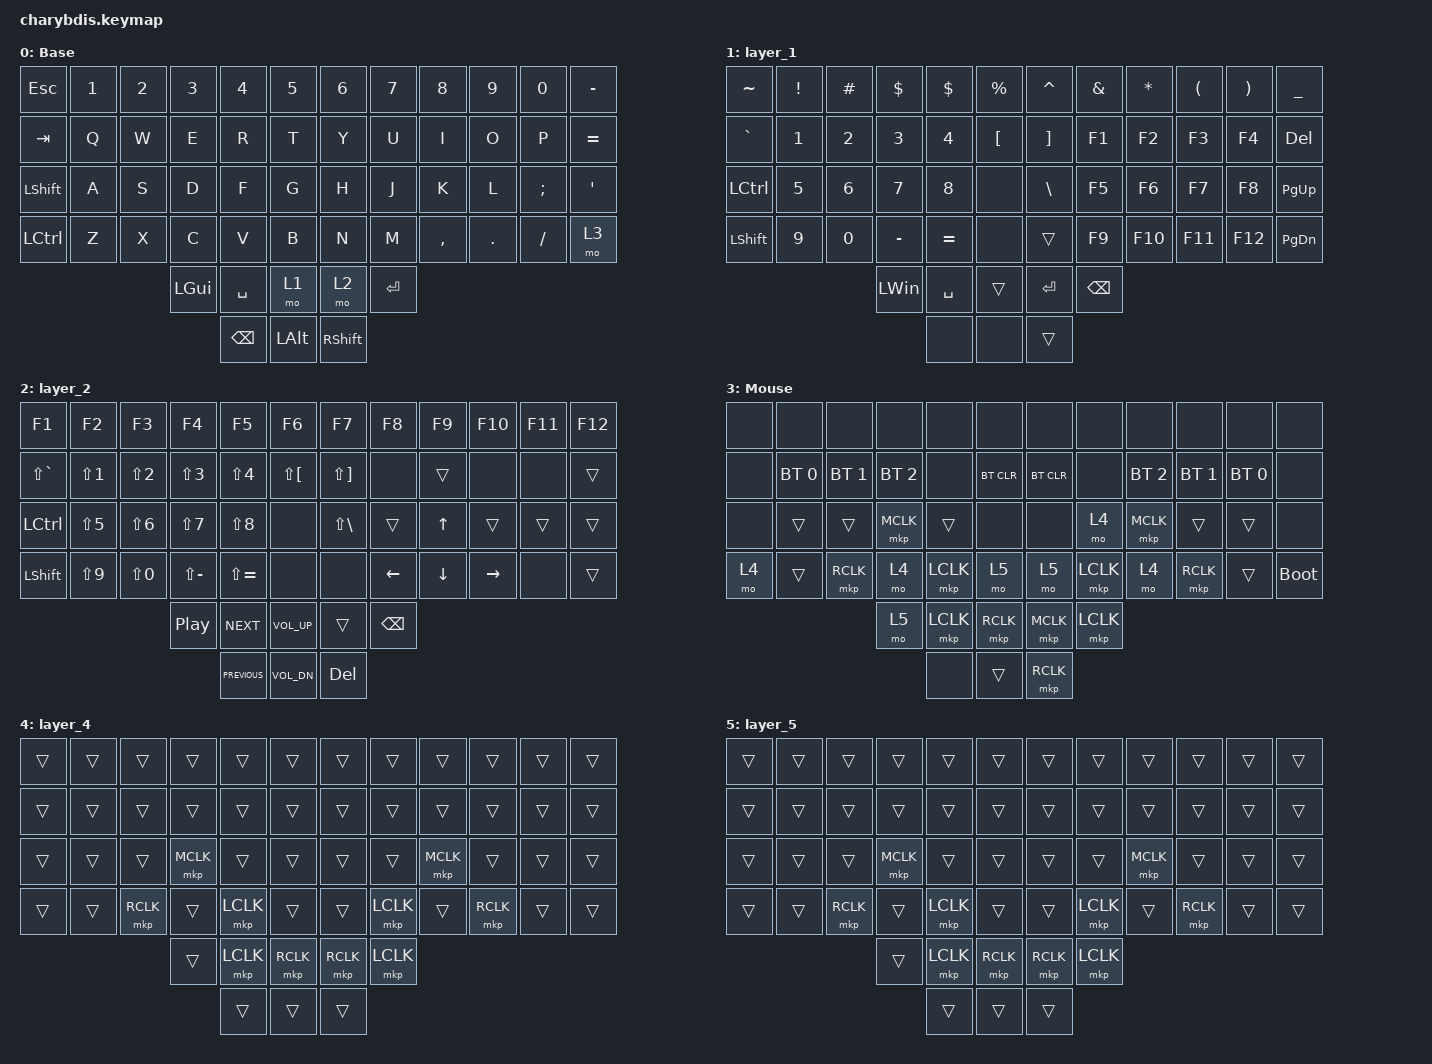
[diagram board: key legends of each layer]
#include <dt-bindings/zmk/mouse.h>
#include <behaviors.dtsi>
#include <dt-bindings/zmk/bt.h>
#include <dt-bindings/zmk/keys.h> 

&lt {
    tapping-term-ms = <200>;
    flavor = "balanced";
    quick-tap-ms = <150>;
};

/ {
    combos {
        compatible = "zmk,combos";

        escc {
            bindings = <&kp ESC>;
            key-positions = <17 18>;
            layers = <0>;
        };
    };

    keymap {
        compatible = "zmk,keymap";

        Base {
            bindings = <
&kp ESC         &kp N1  &kp N2  &kp N3        &kp N4         &kp N5          &kp N6           &kp N7     &kp N8     &kp N9   &kp N0     &kp MINUS
&kp TAB         &kp Q   &kp W   &kp E         &kp R          &kp T           &kp Y            &kp U      &kp I      &kp O    &kp P      &kp EQUAL
&kp LEFT_SHIFT  &kp A   &kp S   &kp D         &kp F          &kp G           &kp H            &kp J      &kp K      &kp L    &kp SEMI   &kp APOS
&kp LCTRL       &kp Z   &kp X   &kp C         &kp V          &kp B           &kp N            &kp M      &kp COMMA  &kp DOT  &kp SLASH  &mo 3
                                &kp LEFT_GUI  &kp SPACE      &mo 1           &mo 2            &kp ENTER
                                              &kp BACKSPACE  &kp LEFT_ALT    &kp RIGHT_SHIFT
            >;

            trackball-bindings = <&tmv_coarse>;
        };

        layer_1 {
            bindings = <
&kp TILDE         &kp EXCLAMATION  &kp HASH      &kp DOLLAR    &kp DOLLAR    &kp PERCENT    &kp CARET  &kp AMPERSAND  &kp ASTERISK  &kp LEFT_PARENTHESIS  &kp RIGHT_PARENTHESIS  &kp UNDERSCORE
&kp GRAVE         &kp NUMBER_1     &kp NUMBER_2  &kp NUMBER_3  &kp NUMBER_4  &kp LBKT       &kp RBKT   &kp F1         &kp F2        &kp F3                &kp F4                 &kp DEL
&kp LEFT_CONTROL  &kp NUMBER_5     &kp NUMBER_6  &kp NUMBER_7  &kp NUMBER_8  &none          &kp BSLH   &kp F5         &kp F6        &kp F7                &kp F8                 &kp PAGE_UP
&kp LSHFT         &kp NUMBER_9     &kp NUMBER_0  &kp MINUS     &kp EQUAL     &none          &trans     &kp F9         &kp F10       &kp F11               &kp F12                &kp PAGE_DOWN
                                                 &kp LEFT_WIN  &kp SPACE     &trans         &kp ENTER  &kp BACKSPACE
                                                               &none         &none          &trans
            >;
        };

        layer_2 {
            bindings = <
&kp F1            &kp F2      &kp F3      &kp F4            &kp F5          &kp F6             &kp F7        &kp F8         &kp F9    &kp F10    &kp F11  &kp F12
&kp LS(GRAVE)     &kp LS(N1)  &kp LS(N2)  &kp LS(N3)        &kp LS(N4)      &kp LS(LBKT)       &kp LS(RBKT)  &none          &trans    &none      &none    &trans
&kp LEFT_CONTROL  &kp LS(N5)  &kp LS(N6)  &kp LS(N7)        &kp LS(N8)      &none              &kp LS(BSLH)  &trans         &kp UP    &trans     &trans   &trans
&kp LEFT_SHIFT    &kp LS(N9)  &kp LS(N0)  &kp LS(MINUS)     &kp LS(EQUAL)   &none              &none         &kp LEFT       &kp DOWN  &kp RIGHT  &none    &trans
                                          &kp C_PLAY_PAUSE  &kp C_NEXT      &kp C_VOLUME_UP    &trans        &kp BACKSPACE
                                                            &kp C_PREVIOUS  &kp C_VOL_DN       &kp DEL
            >;
        };

        Mouse {
            bindings = <
&none  &none         &none         &none         &none      &none         &none       &none      &none         &none         &none         &none
&none  &bt BT_SEL 0  &bt BT_SEL 1  &bt BT_SEL 2  &none      &bt BT_CLR    &bt BT_CLR  &none      &bt BT_SEL 2  &bt BT_SEL 1  &bt BT_SEL 0  &none
&none  &trans        &trans        &mkp MCLK     &trans     &none         &none       &mo 4      &mkp MCLK     &trans        &trans        &none
&mo 4  &trans        &mkp RCLK     &mo 4         &mkp LCLK  &mo 5         &mo 5       &mkp LCLK  &mo 4         &mkp RCLK     &trans        &bootloader
                                   &mo 5         &mkp LCLK  &mkp RCLK     &mkp MCLK   &mkp LCLK
                                                 &none      &trans        &mkp RCLK
            >;
        };

        layer_4 {
            bindings = <
&trans  &trans  &trans     &trans     &trans     &trans       &trans     &trans     &trans     &trans     &trans  &trans
&trans  &trans  &trans     &trans     &trans     &trans       &trans     &trans     &trans     &trans     &trans  &trans
&trans  &trans  &trans     &mkp MCLK  &trans     &trans       &trans     &trans     &mkp MCLK  &trans     &trans  &trans
&trans  &trans  &mkp RCLK  &trans     &mkp LCLK  &trans       &trans     &mkp LCLK  &trans     &mkp RCLK  &trans  &trans
                           &trans     &mkp LCLK  &mkp RCLK    &mkp RCLK  &mkp LCLK
                                      &trans     &trans       &trans
            >;

            trackball-bindings = <&tsl>;//滚轮层
        };

        layer_5 {
            bindings = <
&trans  &trans  &trans     &trans     &trans     &trans       &trans     &trans     &trans     &trans     &trans  &trans
&trans  &trans  &trans     &trans     &trans     &trans       &trans     &trans     &trans     &trans     &trans  &trans
&trans  &trans  &trans     &mkp MCLK  &trans     &trans       &trans     &trans     &mkp MCLK  &trans     &trans  &trans
&trans  &trans  &mkp RCLK  &trans     &mkp LCLK  &trans       &trans     &mkp LCLK  &trans     &mkp RCLK  &trans  &trans
                           &trans     &mkp LCLK  &mkp RCLK    &mkp RCLK  &mkp LCLK
                                      &trans     &trans       &trans
            >;

            trackball-bindings = <&tmv_fine>;//精准指针层
        };
    };
};
